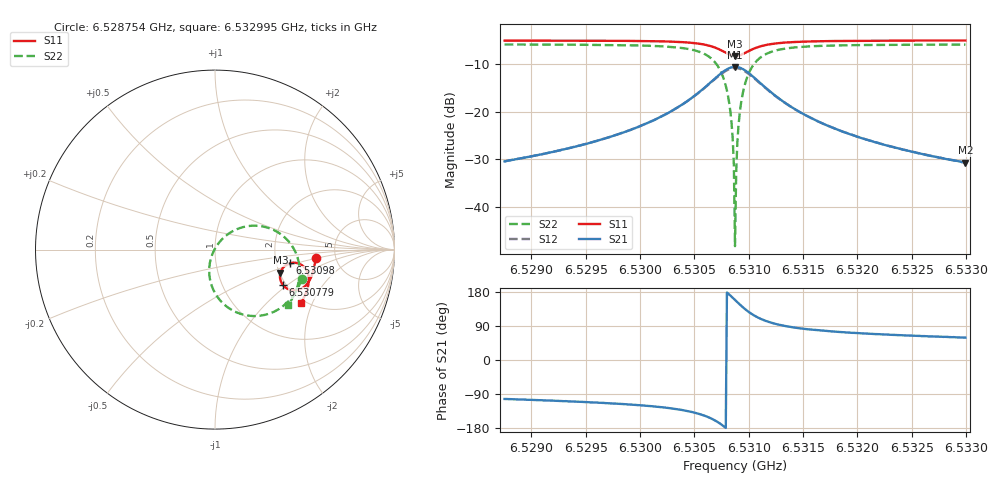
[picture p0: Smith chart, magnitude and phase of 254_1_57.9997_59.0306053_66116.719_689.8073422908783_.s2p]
#  HZ  S  RI  R  50.00
! Rohde & Schwarz Vector Network Analyzer
! Rohde-Schwarz,ZNB20-2Port,1311601062101988,3.16
! Created: UTC 3/21/2024, 1:01:41 AM
! freq[Hz]  re:S11  im:S11  re:S21  im:S21  re:S12  im:S12  re:S22  im:S22
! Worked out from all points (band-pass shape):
!   401 points, 6.528754 GHz to 6.532995 GHz, reference 50 ohm
!   highest |S21| = -10.52 dB at 6.530874 GHz (marker M1); lowest = -30.7 dB at 6.532995 GHz (marker M2)
!   |S21| within 3 dB of the highest: 6.530663 GHz to 6.531087 GHz (424.1 kHz wide, 0.00649 % of centre)
!   lowest |S11| = -8.2 dB at 6.530874 GHz (marker M3), VSWR 2.26, Z = 101 - j30.6 ohm
!   |S11| at or under -10 dB: nowhere
!   |S22| runs from -48.2 to -5.8 dB; largest |S21 - S12| = 0.012
!   S11 on the Smith chart (normalised r, x): 6.528754 GHz: 3.50, -0.48; 6.530779 GHz: 1.92, -0.92; 6.53098 GHz: 2.38, -0.44; 6.532995 GHz: 1.88, -1.65
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6.5287542e9  0.5602 -0.047  -0.00669 -0.0295  -0.00731 -0.0294  0.4837 -0.1665
6.5294645e9  0.5511 -0.1058  -0.0157 -0.042  -0.0168 -0.0417  0.4531 -0.2306
6.5301747e9  0.5242 -0.1758  -0.0484 -0.0721  -0.0504 -0.0709  0.3731 -0.3197
6.5305988e9  0.4556 -0.2262  -0.1531 -0.0977  -0.1556 -0.0914  0.1718 -0.3655
6.5307048e9  0.4118 -0.2221  -0.2209 -0.0723  -0.2202 -0.0628  0.0577 -0.3113
6.530779e9  0.3774 -0.196  -0.2708 -0.0153  -0.2654 -0.00576  -0.0163 -0.2071
6.5308108e9  0.3669 -0.1765  -0.2841 0.0219  -0.2764 0.0306  -0.0313 -0.1425
6.530832e9  0.3627 -0.1612  -0.2875 0.0504  -0.2783 0.0576  -0.0313 -0.0954
6.5308426e9  0.3621 -0.1531  -0.2871 0.0651  -0.2774 0.0715  -0.0281 -0.0715
6.5308532e9  0.3622 -0.1449  -0.2851 0.0799  -0.2751 0.0856  -0.0223 -0.0474
6.5308638e9  0.3631 -0.1367  -0.2817 0.0946  -0.2715 0.0994  -0.0143 -0.024
6.5308744e9  0.3649 -0.1286  -0.2771 0.1091  -0.2665 0.1129  -0.00365 -0.0013
6.530885e9  0.3677 -0.1206  -0.2709 0.1229  -0.2602 0.1258  0.00895 0.0202
6.5308956e9  0.3713 -0.1132  -0.2632 0.1362  -0.2528 0.138  0.0237 0.0402
6.5309062e9  0.3756 -0.106  -0.2545 0.1485  -0.2444 0.1493  0.04 0.0585
6.5309274e9  0.386 -0.0939  -0.2344 0.1696  -0.2248 0.1689  0.077 0.0895
6.5309804e9  0.4181 -0.0758  -0.1757 0.2009  -0.1692 0.1982  0.1789 0.13
6.5310546e9  0.4598 -0.0755  -0.1027 0.2032  -0.099 0.2002  0.3016 0.1195
6.5311606e9  0.4964 -0.0971  -0.0396 0.1733  -0.0378 0.1716  0.403 0.0537
6.5315846e9  0.5225 -0.1759  0.0149 0.0837  0.016 0.0834  0.4718 -0.1341
6.5322949e9  0.504 -0.248  0.0172 0.0401  0.018 0.04  0.4426 -0.2485
6.5329945e9  0.4776 -0.3003  0.015 0.025  0.0155 0.0249  0.4072 -0.3085
